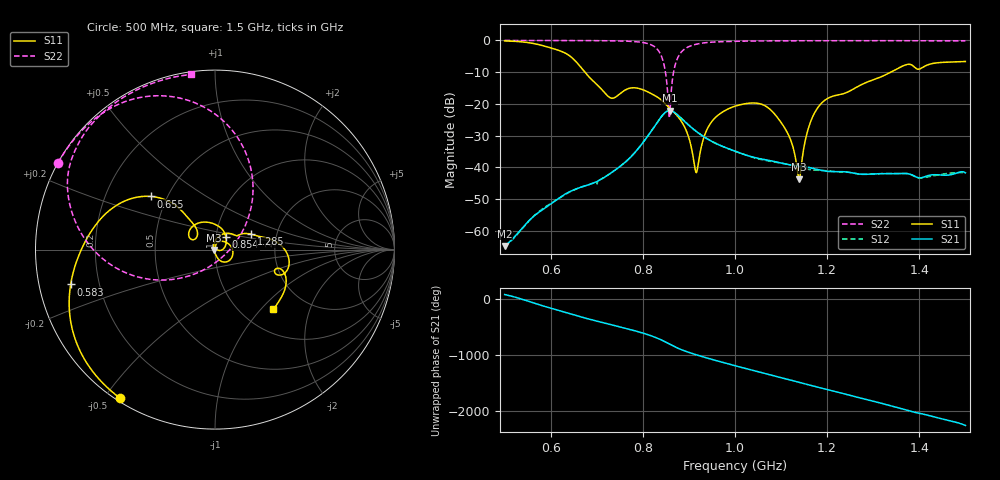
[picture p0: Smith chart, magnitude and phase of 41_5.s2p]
! TOUCHSTONE file generated by CST MICROWAVE STUDIO
! Date and time: Mon Oct 26 12:28:21 2020
! Project name: Scenario_1_Circular_Tissue_out_of_Line.cst
! Parameters = {dy1=346; L_HA=400; MT=2.54; Rad_Dielectric=30; Rad_Lower=7.3; Rad_Upper=30; a_HA=580; a_WG=246; b_HA=500; b_WG=121; c_HA=0; c_WG=187; d_feed=85; dx1=866; h_feed=15; h_lower=18; h_upper=40}
! Header version: 2018
! Port assignment regex: !\s*Touchstone port\s*([0-9]+)\s*=\s*(CST MWS port|CST DS port)\s*([0-9]+|Zmin|Zmax)\s*\(\"(.*)\"\)(\s*mode\s*([0-9]+))?.*
! Touchstone port assignment:
! Touchstone port 1 = CST MWS port 1 ("")
! Touchstone port 2 = CST MWS port 2 ("")
# GHz S DB R 50
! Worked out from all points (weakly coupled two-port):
!   1001 points, 500 MHz to 1.5 GHz, reference 50 ohm
!   highest |S21| = -22.12 dB at 858 MHz (marker M1); lowest = -64.8 dB at 500 MHz (marker M2)
!   lowest |S11| = -43.8 dB at 1.139 GHz (marker M3), VSWR 1.01, Z = 49.4 - j0.167 ohm
!   |S11| at or under -10 dB: 674.1 MHz to 1.338 GHz (663.9 MHz wide, 66 % of centre)
!   |S22| runs from -24.4 to 0.0 dB; largest |S21 - S12| = 0.0018
!   S11 on the Smith chart (normalised r, x): 500 MHz: 0.01, -0.55; 583 MHz: 0.10, -0.12; 655 MHz: 0.41, +0.31; 854 MHz: 1.12, +0.16; 1.285 GHz: 1.47, +0.27; 1.5 GHz: 1.38, -1.18
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0.5  -0.15 -122.4  -64.76 70.8  -64.80 70.9  -0.01 151.1
0.583  -1.65 -166.4  -53.25 -131.0  -52.97 -129.2  -0.02 145.4
0.655  -6.69 140.2  -46.81 57.6  -46.80 57.7  -0.04 139.5
0.667  -8.74 133.4  -46.14 29.2  -46.16 29.2  -0.04 138.4
0.73  -18.10 143.1  -41.83 -103.5  -41.83 -103.5  -0.11 130.9
0.779  -14.91 136.5  -35.91 153.4  -35.90 153.3  -0.33 120.6
0.834  -18.07 74.8  -25.22 5.0  -25.25 5.0  -3.25 83.3
0.846  -19.57 58.9  -23.02 -41.1  -23.05 -41.0  -7.68 59.2
0.854  -20.70 49.3  -22.22 -75.5  -22.23 -75.4  -16.73 25.9
0.858  -21.25 44.5  -22.12 -93.0  -22.12 -92.9  -24.38 -65.2
0.876  -23.97 21.5  -23.54 -165.2  -23.55 -165.2  -5.37 -167.6
0.916  -41.63 35.4  -28.67 76.7  -28.63 77.1  -1.19 159.8
0.945  -26.51 64.2  -31.44 6.7  -31.42 6.9  -0.59 150.2
1  -20.71 9.2  -34.89 -117.1  -34.89 -117.1  -0.28 140.3
1.082  -22.55 -61.5  -38.04 68.0  -38.20 67.1  -0.14 131.3
1.118  -30.38 -81.1  -39.18 -8.3  -39.06 -8.2  -0.11 128.2
1.139  -43.79 -164.9  -39.54 -52.6  -39.77 -52.4  -0.10 126.4
1.167  -24.55 83.4  -40.22 -113.4  -40.83 -113.5  -0.10 124.2
1.198  -18.53 49.9  -41.18 -176.8  -41.06 -176.4  -0.09 121.8
1.285  -13.23 23.3  -42.16 2.5  -42.17 2.6  -0.08 115.2
1.334  -10.30 11.7  -41.95 -101.9  -41.96 -101.9  -0.09 111.5
1.5  -6.63 -45.7  -41.71 -101.6  -41.71 -101.6  -0.13 97.9
